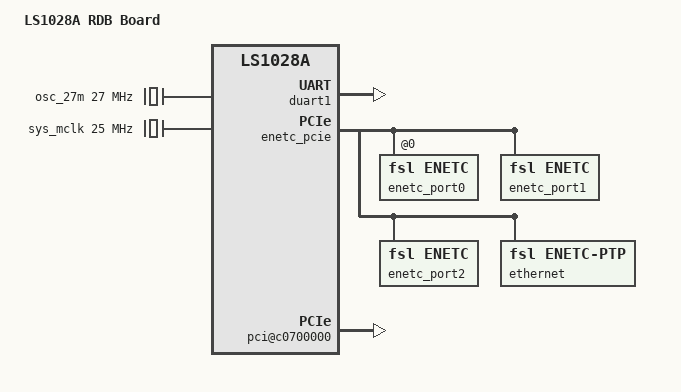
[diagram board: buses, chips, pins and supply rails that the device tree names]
// SPDX-License-Identifier: (GPL-2.0+ OR MIT)
/*
 * Device Tree for inmate cell on NXP ls1046a RDB platform
 *
 * Copyright 2020-2021 NXP
 *
 * Hongbo Wang <hongbo.wang@nxp.com>
 */

/dts-v1/;

#include <dt-bindings/interrupt-controller/arm-gic.h>

/ {
	compatible = "fsl,ls1028a";
	model = "LS1028A RDB Board";
	interrupt-parent = <&gic>;
	#address-cells = <2>;
	#size-cells = <2>;

	aliases {
		serial0 = &duart1;
	};

	cpus {
		#address-cells = <1>;
		#size-cells = <0>;

		cpu1: cpu@1 {
			device_type = "cpu";
			compatible = "arm,cortex-a72";
			reg = <0x1>;
			clocks = <&clockgen 1 0>;
			next-level-cache = <&l2>;
			cpu-idle-states = <&CPU_PW20>;
			#cooling-cells = <2>;
			enable-method = "psci";
		};

		l2: l2-cache {
			compatible = "cache";
		};
	};

	chosen {
		stdout-path = "serial0:115200n8";
	};

	idle-states {
		/*
		 * PSCI node is not added default, U-boot will add missing
		 * parts if it determines to use PSCI.
		 */
		entry-method = "arm,psci";

		CPU_PW20: cpu-pw20 {
			  compatible = "arm,idle-state";
			  idle-state-name = "PW20";
			  arm,psci-suspend-param = <0x0>;
			  entry-latency-us = <2000>;
			  exit-latency-us = <2000>;
			  min-residency-us = <6000>;
		};
	};

	sysclk: clock-sysclk {
		compatible = "fixed-clock";
		#clock-cells = <0>;
		clock-frequency = <100000000>;
		clock-output-names = "sysclk";
	};

	osc_27m: clock-osc-27m {
		compatible = "fixed-clock";
		#clock-cells = <0>;
		clock-frequency = <27000000>;
		clock-output-names = "phy_27m";
	};

	sys_mclk: clock-mclk {
		compatible = "fixed-clock";
		#clock-cells = <0>;
		clock-frequency = <25000000>;
	};

	reboot {
		compatible ="syscon-reboot";
		regmap = <&dcfg>;
		offset = <0xb0>;
		mask = <0x02>;
	};

	timer {
		compatible = "arm,armv8-timer";
		interrupts = <GIC_PPI 13 (GIC_CPU_MASK_SIMPLE(2) |
					  IRQ_TYPE_LEVEL_LOW)>,
			     <GIC_PPI 14 (GIC_CPU_MASK_SIMPLE(2) |
					  IRQ_TYPE_LEVEL_LOW)>,
			     <GIC_PPI 11 (GIC_CPU_MASK_SIMPLE(2) |
					  IRQ_TYPE_LEVEL_LOW)>,
			     <GIC_PPI 10 (GIC_CPU_MASK_SIMPLE(2) |
					  IRQ_TYPE_LEVEL_LOW)>;
	};

	pmu {
		compatible = "arm,cortex-a72-pmu";
		interrupts = <GIC_PPI 7 IRQ_TYPE_LEVEL_HIGH>;
	};

	gic: interrupt-controller@6000000 {
		compatible= "arm,gic-v3";
		#address-cells = <2>;
		#size-cells = <2>;
		ranges;
		reg= <0x0 0x06000000 0 0x10000>, /* GIC Dist */
			<0x0 0x06040000 0 0x40000>; /* GIC Redistributor */
		#interrupt-cells= <3>;
		interrupt-controller;
		interrupts = <GIC_PPI 9 (GIC_CPU_MASK_RAW(0xf) |
					 IRQ_TYPE_LEVEL_LOW)>;
		its: gic-its@6020000 {
			compatible = "arm,gic-v3-its";
			msi-controller;
			reg = <0x0 0x06020000 0 0x20000>;/* GIC Translater */
		};
	};

	soc: soc {
		compatible = "simple-bus";
		#address-cells = <2>;
		#size-cells = <2>;
		ranges;

		ddr: memory-controller@1080000 {
			compatible = "fsl,qoriq-memory-controller";
			reg = <0x0 0x1080000 0x0 0x1000>;
			interrupts = <GIC_SPI 144 IRQ_TYPE_LEVEL_HIGH>;
			big-endian;
		};

		dcfg: syscon@1e00000 {
			compatible = "fsl,ls1028a-dcfg", "syscon";
			reg = <0x0 0x1e00000 0x0 0x10000>;
			little-endian;
		};

		clockgen: clock-controller@1300000 {
			compatible = "fsl,ls1028a-clockgen";
			reg = <0x0 0x1300000 0x0 0xa0000>;
			#clock-cells = <2>;
			clocks = <&sysclk>;
		};

		duart1: serial@21c0600 {
			compatible = "fsl,ns16550", "ns16550a";
			reg = <0x00 0x21c0600 0x0 0x100>;
			clocks = <&clockgen 4 1>;
			status = "okay";
		};

		smmu: iommu@5000000 {
			compatible = "arm,mmu-500";
			reg = <0 0x5000000 0 0x800000>;
			#global-interrupts = <8>;
			#iommu-cells = <1>;
			stream-match-mask = <0x7c00>;
			/* global secure fault */
			interrupts = <GIC_SPI 13 IRQ_TYPE_LEVEL_HIGH>,
			/* combined secure interrupt */
				     <GIC_SPI 14 IRQ_TYPE_LEVEL_HIGH>,
			/* global non-secure fault */
				     <GIC_SPI 15 IRQ_TYPE_LEVEL_HIGH>,
			/* combined non-secure interrupt */
				     <GIC_SPI 16 IRQ_TYPE_LEVEL_HIGH>,
			/* performance counter interrupts 0-7 */
				     <GIC_SPI 211 IRQ_TYPE_LEVEL_HIGH>, <GIC_SPI 212 IRQ_TYPE_LEVEL_HIGH>,
				     <GIC_SPI 213 IRQ_TYPE_LEVEL_HIGH>, <GIC_SPI 214 IRQ_TYPE_LEVEL_HIGH>,
			/* per context interrupt, 64 interrupts */
				     <GIC_SPI 146 IRQ_TYPE_LEVEL_HIGH>, <GIC_SPI 147 IRQ_TYPE_LEVEL_HIGH>,
				     <GIC_SPI 148 IRQ_TYPE_LEVEL_HIGH>, <GIC_SPI 149 IRQ_TYPE_LEVEL_HIGH>,
				     <GIC_SPI 150 IRQ_TYPE_LEVEL_HIGH>, <GIC_SPI 151 IRQ_TYPE_LEVEL_HIGH>,
				     <GIC_SPI 152 IRQ_TYPE_LEVEL_HIGH>, <GIC_SPI 153 IRQ_TYPE_LEVEL_HIGH>,
				     <GIC_SPI 154 IRQ_TYPE_LEVEL_HIGH>, <GIC_SPI 155 IRQ_TYPE_LEVEL_HIGH>,
				     <GIC_SPI 156 IRQ_TYPE_LEVEL_HIGH>, <GIC_SPI 157 IRQ_TYPE_LEVEL_HIGH>,
				     <GIC_SPI 158 IRQ_TYPE_LEVEL_HIGH>, <GIC_SPI 159 IRQ_TYPE_LEVEL_HIGH>,
				     <GIC_SPI 160 IRQ_TYPE_LEVEL_HIGH>, <GIC_SPI 161 IRQ_TYPE_LEVEL_HIGH>,
				     <GIC_SPI 162 IRQ_TYPE_LEVEL_HIGH>, <GIC_SPI 163 IRQ_TYPE_LEVEL_HIGH>,
				     <GIC_SPI 164 IRQ_TYPE_LEVEL_HIGH>, <GIC_SPI 165 IRQ_TYPE_LEVEL_HIGH>,
				     <GIC_SPI 166 IRQ_TYPE_LEVEL_HIGH>, <GIC_SPI 167 IRQ_TYPE_LEVEL_HIGH>,
				     <GIC_SPI 168 IRQ_TYPE_LEVEL_HIGH>, <GIC_SPI 169 IRQ_TYPE_LEVEL_HIGH>,
				     <GIC_SPI 170 IRQ_TYPE_LEVEL_HIGH>, <GIC_SPI 171 IRQ_TYPE_LEVEL_HIGH>,
				     <GIC_SPI 172 IRQ_TYPE_LEVEL_HIGH>, <GIC_SPI 173 IRQ_TYPE_LEVEL_HIGH>,
				     <GIC_SPI 174 IRQ_TYPE_LEVEL_HIGH>, <GIC_SPI 175 IRQ_TYPE_LEVEL_HIGH>,
				     <GIC_SPI 176 IRQ_TYPE_LEVEL_HIGH>, <GIC_SPI 177 IRQ_TYPE_LEVEL_HIGH>,
				     <GIC_SPI 178 IRQ_TYPE_LEVEL_HIGH>, <GIC_SPI 179 IRQ_TYPE_LEVEL_HIGH>,
				     <GIC_SPI 180 IRQ_TYPE_LEVEL_HIGH>, <GIC_SPI 181 IRQ_TYPE_LEVEL_HIGH>,
				     <GIC_SPI 182 IRQ_TYPE_LEVEL_HIGH>, <GIC_SPI 183 IRQ_TYPE_LEVEL_HIGH>,
				     <GIC_SPI 184 IRQ_TYPE_LEVEL_HIGH>, <GIC_SPI 185 IRQ_TYPE_LEVEL_HIGH>,
				     <GIC_SPI 186 IRQ_TYPE_LEVEL_HIGH>, <GIC_SPI 187 IRQ_TYPE_LEVEL_HIGH>,
				     <GIC_SPI 188 IRQ_TYPE_LEVEL_HIGH>, <GIC_SPI 189 IRQ_TYPE_LEVEL_HIGH>,
				     <GIC_SPI 190 IRQ_TYPE_LEVEL_HIGH>, <GIC_SPI 191 IRQ_TYPE_LEVEL_HIGH>,
				     <GIC_SPI 192 IRQ_TYPE_LEVEL_HIGH>, <GIC_SPI 193 IRQ_TYPE_LEVEL_HIGH>,
				     <GIC_SPI 194 IRQ_TYPE_LEVEL_HIGH>, <GIC_SPI 195 IRQ_TYPE_LEVEL_HIGH>,
				     <GIC_SPI 196 IRQ_TYPE_LEVEL_HIGH>, <GIC_SPI 197 IRQ_TYPE_LEVEL_HIGH>,
				     <GIC_SPI 198 IRQ_TYPE_LEVEL_HIGH>, <GIC_SPI 199 IRQ_TYPE_LEVEL_HIGH>,
				     <GIC_SPI 200 IRQ_TYPE_LEVEL_HIGH>, <GIC_SPI 201 IRQ_TYPE_LEVEL_HIGH>,
				     <GIC_SPI 202 IRQ_TYPE_LEVEL_HIGH>, <GIC_SPI 203 IRQ_TYPE_LEVEL_HIGH>,
				     <GIC_SPI 204 IRQ_TYPE_LEVEL_HIGH>, <GIC_SPI 205 IRQ_TYPE_LEVEL_HIGH>,
				     <GIC_SPI 206 IRQ_TYPE_LEVEL_HIGH>, <GIC_SPI 207 IRQ_TYPE_LEVEL_HIGH>,
				     <GIC_SPI 208 IRQ_TYPE_LEVEL_HIGH>, <GIC_SPI 209 IRQ_TYPE_LEVEL_HIGH>;
		};

		enetc_pcie: pcie@1f0000000 { /* Integrated Endpoint Root Complex */
			compatible = "pci-host-ecam-generic";
			reg = <0x01 0xf0000000 0x0 0x100000>;
			#address-cells = <3>;
			#size-cells = <2>;
			msi-parent = <&its>;
			device_type = "pci";
			bus-range = <0x0 0x0>;
			dma-coherent;
			msi-map = <0 &its 0x17 0xe>;
			iommu-map = <0 &smmu 0x17 0xe>;
				  /* PF0-6 BAR0 - non-prefetchable memory */
			ranges = <0x82000000 0x0 0x00000000  0x1 0xf8000000  0x0 0x160000
				  /* PF0-6 BAR2 - prefetchable memory */
				  0xc2000000 0x0 0x00000000  0x1 0xf8160000  0x0 0x070000
				  /* PF0: VF0-1 BAR0 - non-prefetchable memory */
				  0x82000000 0x0 0x00000000  0x1 0xf81d0000  0x0 0x020000
				  /* PF0: VF0-1 BAR2 - prefetchable memory */
				  0xc2000000 0x0 0x00000000  0x1 0xf81f0000  0x0 0x020000
				  /* PF1: VF0-1 BAR0 - non-prefetchable memory */
				  0x82000000 0x0 0x00000000  0x1 0xf8210000  0x0 0x020000
				  /* PF1: VF0-1 BAR2 - prefetchable memory */
				  0xc2000000 0x0 0x00000000  0x1 0xf8230000  0x0 0x020000
				  /* BAR4 (PF5) - non-prefetchable memory */
				  0x82000000 0x0 0x00000000  0x1 0xfc000000  0x0 0x400000>;

			enetc_port0: ethernet@0,0 {
				compatible = "fsl,enetc";
				reg = <0x000000 0 0 0 0>;
			};
			enetc_port1: ethernet@0,1 {
				compatible = "fsl,enetc";
				reg = <0x000100 0 0 0 0>;
			};
			enetc_mdio_pf3: mdio@0,3 {
				compatible = "fsl,enetc-mdio";
				reg = <0x000300 0 0 0 0>;
				#address-cells = <1>;
				#size-cells = <0>;
			};
			enetc_port2: ethernet@0,2 {
				compatible = "fsl,enetc";
				reg = <0x000200 0 0 0 0>;
				fixed-link {
					speed = <1000>;
					full-duplex;
				};
			};
			ethernet@0,4 {
				compatible = "fsl,enetc-ptp";
				reg = <0x000400 0 0 0 0>;
				clocks = <&clockgen 4 0>;
				little-endian;
			};

			enetc_port3: ethernet@0,6 {
				compatible = "fsl,enetc";
				reg = <0x000600 0 0 0 0>;
				status = "disabled";

				fixed-link {
					speed = <1000>;
					full-duplex;
				};
			};
		};

	};

	pci@c0700000 {
		compatible = "pci-host-ecam-generic";
		device_type = "pci";
		bus-range = <0 0>;
		#address-cells = <3>;
		#size-cells = <2>;
		#interrupt-cells = <1>;
		msi-parent = <&its>;
		interrupt-map-mask = <0 0 0 7>;
		interrupt-map = <0 0 0 1 &gic 0 0 GIC_SPI 65 IRQ_TYPE_EDGE_RISING>,
				<0 0 0 2 &gic 0 0 GIC_SPI 66 IRQ_TYPE_EDGE_RISING>,
				<0 0 0 3 &gic 0 0 GIC_SPI 67 IRQ_TYPE_EDGE_RISING>,
				<0 0 0 4 &gic 0 0 GIC_SPI 68 IRQ_TYPE_EDGE_RISING>;
		reg = <0x0 0xc0700000 0x0 0x100000>;
		ranges = <0x02000000 0x00 0x10000000 0x0 0x10000000 0x00 0x10000>;
	};

	psci {
		compatible = "arm,psci-1.0", "arm,psci-0.2";
		method = "smc";
	};

};
